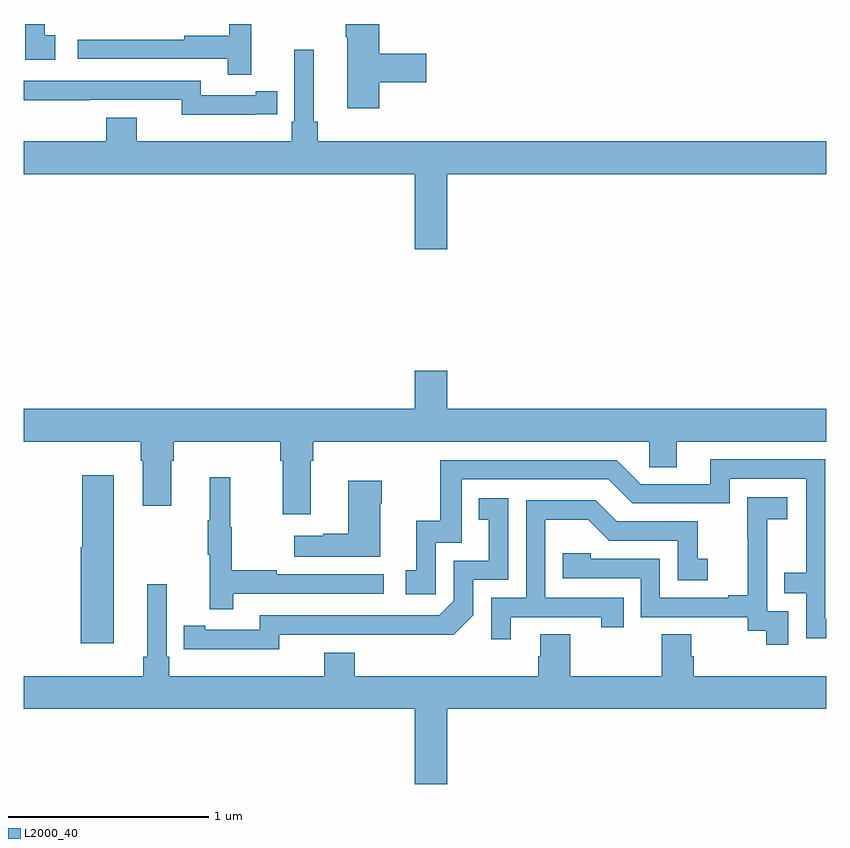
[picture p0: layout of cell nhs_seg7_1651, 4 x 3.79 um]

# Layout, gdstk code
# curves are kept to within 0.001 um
import gdstk
lib = gdstk.Library(unit=1e-6, precision=1e-09)
def P(c, l, *ps):  # polygons
    for p in ps: c.add(gdstk.Polygon(p, *l))
L2000_40 = (2000, 40)

nhs_seg7_1651 = lib.new_cell('nhs_seg7_1651')
P(nhs_seg7_1651, L2000_40, [(224.771,1031.71),(225.007,1031.71),(225.007,1031.852),(224.771,1031.852),(224.771,1032),(224.605,1032),(224.605,1031.935),(224.612,1031.935),(224.612,1031.58),(224.771,1031.58)],
  [(223.159,1031.943),(223.106,1031.943),(223.106,1032),(223.008,1032),(223.008,1031.823),(223.159,1031.823)],
  [(224.135,1032),(224.025,1032),(224.025,1031.942),(223.801,1031.942),(223.801,1031.922),(223.269,1031.922),(223.269,1031.826),(224.017,1031.826),(224.017,1031.748),(224.135,1031.748)],
  [(224.948,1030.878),(225.112,1030.878),(225.112,1031.252),(227,1031.252),(227,1031.416),(224.465,1031.416),(224.465,1031.512),(224.446,1031.512),(224.446,1031.872),(224.349,1031.872),(224.349,1031.512),(224.336,1031.512),(224.336,1031.416),(223.564,1031.416),(223.564,1031.533),(223.412,1031.533),(223.412,1031.416),(223,1031.416),(223,1031.252),(224.948,1031.252)],
  [(224.156,1031.55),(224.264,1031.55),(224.264,1031.666),(224.156,1031.666),(224.156,1031.646),(223.884,1031.646),(223.884,1031.718),(223,1031.718),(223,1031.621),(223.328,1031.621),(223.328,1031.622),(223.788,1031.622),(223.788,1031.549),(224.156,1031.549)],
  [(224.431,1029.824),(224.444,1029.824),(224.444,1029.92),(226.116,1029.92),(226.116,1029.793),(226.255,1029.793),(226.255,1029.92),(227,1029.92),(227,1030.084),(225.112,1030.084),(225.112,1030.273),(224.948,1030.273),(224.948,1030.084),(223,1030.084),(223,1029.92),(223.583,1029.92),(223.583,1029.824),(223.595,1029.824),(223.595,1029.6),(223.735,1029.6),(223.735,1029.824),(223.748,1029.824),(223.748,1029.92),(224.279,1029.92),(224.279,1029.824),(224.291,1029.824),(224.291,1029.558),(224.431,1029.558)],
  [(227,1029.036),(226.995,1029.036),(226.995,1029.831),(226.421,1029.831),(226.421,1029.708),(226.074,1029.708),(225.954,1029.828),(225.075,1029.828),(225.075,1029.526),(224.957,1029.526),(224.957,1029.279),(224.904,1029.279),(224.904,1029.159),(225.054,1029.159),(225.054,1029.417),(225.183,1029.417),(225.183,1029.732),(225.912,1029.732),(226.032,1029.612),(226.518,1029.612),(226.518,1029.735),(226.899,1029.735),(226.899,1029.266),(226.789,1029.266),(226.789,1029.165),(226.899,1029.165),(226.899,1028.94),(227,1028.94)],
  [(223.45,1029.751),(223.292,1029.751),(223.292,1029.393),(223.286,1029.393),(223.286,1028.916),(223.45,1028.916)],
  [(224.045,1029.162),(224.794,1029.162),(224.794,1029.258),(224.261,1029.258),(224.261,1029.278),(224.038,1029.278),(224.038,1029.492),(224.03,1029.492),(224.03,1029.742),(223.928,1029.742),(223.928,1029.529),(223.917,1029.529),(223.917,1029.355),(223.928,1029.355),(223.928,1029.084),(224.045,1029.084)],
  [(224.776,1029.611),(224.784,1029.611),(224.784,1029.724),(224.618,1029.724),(224.618,1029.461),(224.492,1029.461),(224.492,1029.451),(224.349,1029.451),(224.349,1029.347),(224.776,1029.347)],
  [(226.809,1029.075),(226.704,1029.075),(226.704,1029.305),(226.706,1029.305),(226.706,1029.533),(226.804,1029.533),(226.804,1029.643),(226.606,1029.643),(226.606,1029.437),(226.607,1029.437),(226.607,1029.154),(226.511,1029.154),(226.511,1029.141),(226.17,1029.141),(226.17,1029.336),(225.825,1029.336),(225.825,1029.363),(225.685,1029.363),(225.685,1029.24),(226.074,1029.24),(226.074,1029.045),(226.608,1029.045),(226.608,1028.977),(226.701,1028.977),(226.701,1028.907),(226.809,1028.907)],
  [(224.274,1028.958),(225.142,1028.957),(225.24,1029.054),(225.24,1029.231),(225.414,1029.231),(225.414,1029.637),(225.268,1029.637),(225.268,1029.531),(225.317,1029.531),(225.317,1029.327),(225.144,1029.327),(225.144,1029.126),(225.072,1029.054),(224.178,1029.054),(224.178,1028.982),(223.906,1028.982),(223.906,1029.002),(223.798,1029.002),(223.798,1028.886),(224.274,1028.885)],
  [(225.427,1029.045),(225.878,1029.045),(225.878,1028.994),(225.989,1028.994),(225.989,1029.141),(225.6,1029.141),(225.6,1029.53),(225.814,1029.53),(225.918,1029.426),(226.26,1029.426),(226.26,1029.228),(226.408,1029.228),(226.408,1029.337),(226.359,1029.337),(226.359,1029.522),(225.955,1029.522),(225.85,1029.627),(225.504,1029.627),(225.504,1029.141),(225.33,1029.141),(225.33,1028.934),(225.427,1028.934)],
  [(225.112,1028.588),(227,1028.588),(227,1028.752),(226.34,1028.752),(226.34,1028.85),(226.327,1028.85),(226.327,1028.96),(226.18,1028.96),(226.18,1028.752),(225.723,1028.752),(225.723,1028.96),(225.575,1028.96),(225.575,1028.85),(225.563,1028.85),(225.563,1028.752),(224.651,1028.752),(224.651,1028.869),(224.498,1028.869),(224.498,1028.752),(223.727,1028.752),(223.727,1028.848),(223.713,1028.848),(223.713,1029.208),(223.616,1029.208),(223.616,1028.848),(223.597,1028.848),(223.597,1028.752),(223,1028.752),(223,1028.588),(224.948,1028.588),(224.948,1028.214),(225.112,1028.214)])

lib.write_gds('nhs_seg7_1651.gds')
